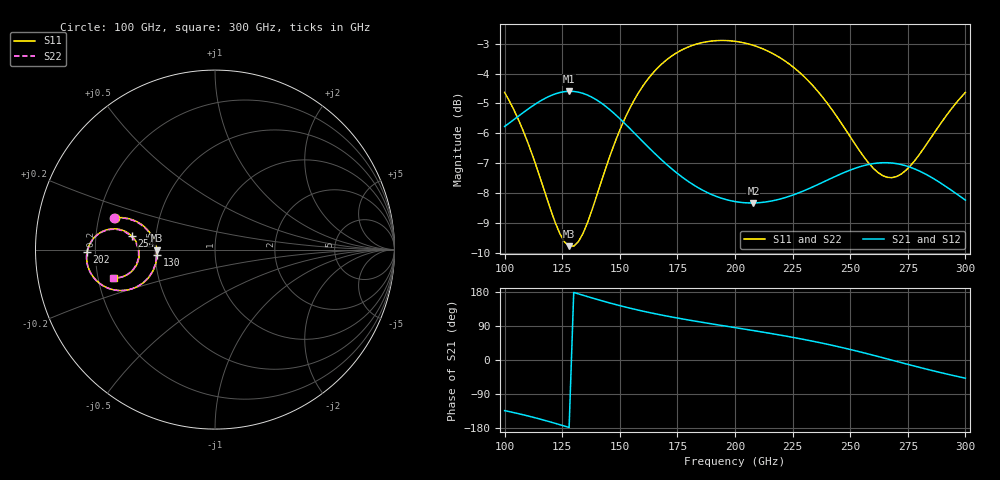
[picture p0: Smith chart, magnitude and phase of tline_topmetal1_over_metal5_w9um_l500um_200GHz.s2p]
#  GHZ S DB R 50
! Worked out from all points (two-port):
!   101 points, 100 GHz to 300 GHz, reference 50 ohm
!   highest |S21| = -4.59 dB at 128 GHz (marker M1); lowest = -8.3 dB at 208 GHz (marker M2)
!   |S21| within 3 dB of the highest: start of sweep to 179.4 GHz; 239.3 GHz to 287.8 GHz (48.52 GHz wide, 18.4 % of centre)
!   lowest |S11| = -9.8 dB at 128 GHz (marker M3), VSWR 1.96, Z = 25.5 - j0.184 ohm
!   |S11| at or under -10 dB: nowhere
!   |S22| runs from -9.7 to -2.9 dB; largest |S21 - S12| = 6.3e-14
!   S11 on the Smith chart (normalised r, x): 100 GHz: 0.27, +0.14; 130 GHz: 0.51, -0.03; 202 GHz: 0.17, -0.01; 254 GHz: 0.36, +0.07; 300 GHz: 0.26, -0.13
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100  -4.63 162.5  -5.77 -133.6  -5.77 -133.6  -4.62 162.7
108  -5.90 160.2  -5.31 -144.5  -5.31 -144.5  -5.88 160.5
114  -7.16 160.9  -4.99 -153.7  -4.99 -153.7  -7.13 161.2
122  -8.99 168.5  -4.68 -167.2  -4.68 -167.2  -8.94 168.7
128  -9.77 -179.4  -4.59 -178.0  -4.59 -178.0  -9.71 -179.3
130  -9.77 -174.8  -4.60 178.3  -4.60 178.3  -9.71 -174.7
134  -9.35 -166.2  -4.66 171.0  -4.66 171.0  -9.29 -166.2
142  -7.60 -156.2  -4.99 156.7  -4.99 156.7  -7.57 -156.3
150  -5.89 -154.7  -5.51 143.5  -5.51 143.5  -5.87 -154.7
158  -4.66 -157.1  -6.12 131.7  -6.12 131.7  -4.64 -157.1
168  -3.69 -162.0  -6.88 118.8  -6.88 118.8  -3.68 -162.0
184  -3.00 -170.3  -7.82 101.3  -7.82 101.3  -2.99 -170.2
200  -2.92 -178.0  -8.28 85.5  -8.28 85.5  -2.91 -177.8
202  -2.94 -178.9  -8.30 83.5  -8.30 83.5  -2.93 -178.7
208  -3.06 178.5  -8.33 77.6  -8.33 77.6  -3.05 178.6
220  -3.49 173.5  -8.19 65.3  -8.19 65.3  -3.48 173.8
234  -4.42 169.1  -7.78 49.3  -7.78 49.3  -4.40 169.4
244  -5.42 168.1  -7.42 36.3  -7.42 36.3  -5.38 168.4
254  -6.57 170.8  -7.12 21.8  -7.12 21.8  -6.53 171.1
268  -7.48 -177.2  -6.99 -0.2  -6.99 -0.2  -7.41 -177.0
284  -6.27 -165.0  -7.42 -25.4  -7.42 -25.4  -6.21 -165.0
300  -4.63 -164.5  -8.23 -48.0  -8.23 -48.0  -4.59 -164.4
